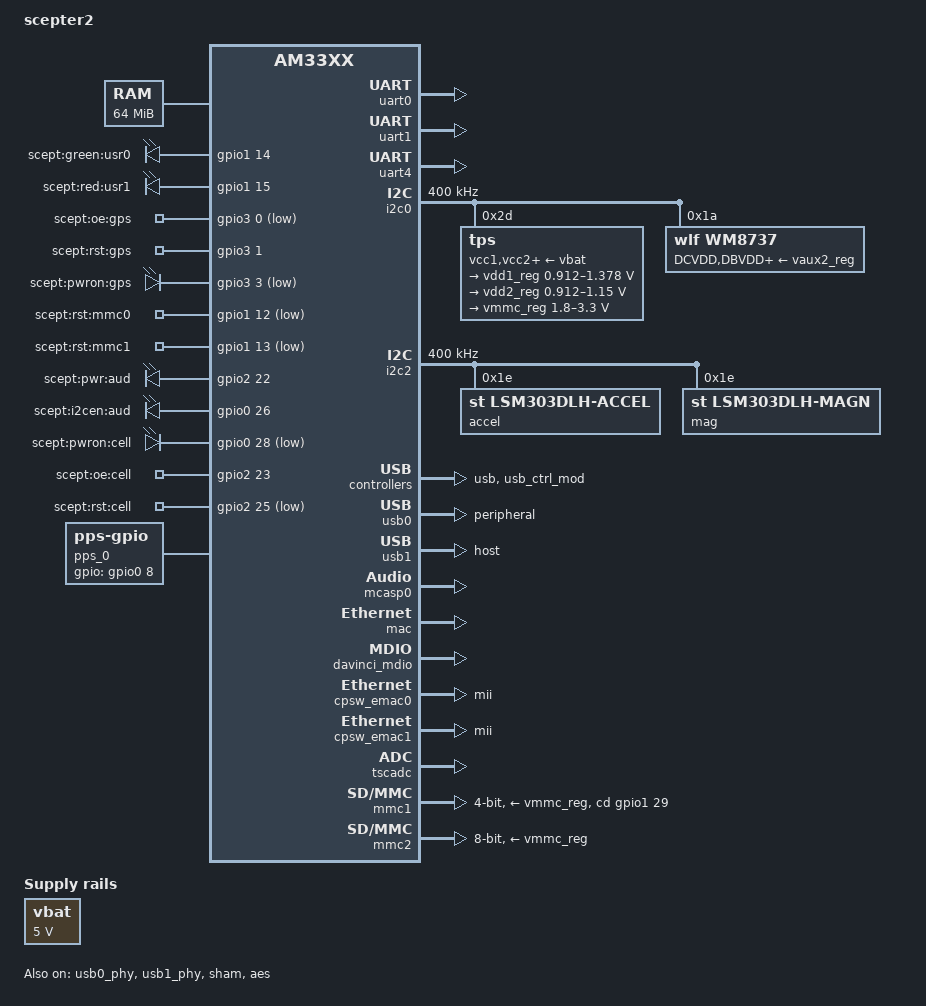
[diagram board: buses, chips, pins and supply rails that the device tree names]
/* * Copyright (C) 2015 Gener8 --> modified from TI's AM335x_EVM board 
 *
 * This program is free software; you can redistribute it and/or modify
 * it under the terms of the GNU General Public License version 2 as
 * published by the Free Software Foundation.
 */
/dts-v1/;

#include "am33xx.dtsi"
#include <dt-bindings/interrupt-controller/irq.h>

/ {
	model = "scepter2";
	compatible = "ti,am335x-evm", "ti,am33xx";

	cpus {
		cpu@0 {
			cpu0-supply = <&vdd1_reg>;
		};
	};

	memory {
		device_type = "memory";
		reg = <0x80000000 0x04000000>; /* 64 MB - SCEPT2 change */
	};

	vbat: fixedregulator@0 {
		compatible = "regulator-fixed";
		regulator-name = "vbat";
		regulator-min-microvolt = <5000000>;
		regulator-max-microvolt = <5000000>;
		regulator-boot-on;
	};


/* Scepter2 leds, gps controls include audio and mmc gpios  */
/* ------------------------------------------------------------------------ */
   	leds {
   		pinctrl-names = "default", "sleep";
		pinctrl-0 = <&user_leds_default>;
		pinctrl-1 = <&user_leds_sleep>;

		compatible = "gpio-leds";

		led@1 {
		      label = "scept:green:usr0";
		      gpios = <&gpio1 14 GPIO_ACTIVE_HIGH>;
		      default-state = "on";
		};

		led@2 {
		      label = "scept:red:usr1";
		      gpios = <&gpio1 15 GPIO_ACTIVE_HIGH>;
		      default-state = "on";
		};		
	};

	gpsctls {

   		pinctrl-names = "default", "sleep";
		pinctrl-0 = <&user_gpsctl_default>;
		pinctrl-1 = <&user_gpsctl_sleep>;

		compatible = "gpio-leds";

		gpsctl@1 {
		      label = "scept:oe:gps";
		      gpios = <&gpio3 0 GPIO_ACTIVE_LOW>;
		      default-state = "on";
		};

		gpsctl@2 {
		      label = "scept:rst:gps";
		      gpios = <&gpio3 1 GPIO_ACTIVE_HIGH>;
		      default-state = "off";
		};		

		gpsctl@3 {
		      label = "scept:pwron:gps";
		      gpios = <&gpio3 3 GPIO_ACTIVE_LOW>;
		      default-state = "on";
		};		

		/* Disable onboard eMMC0 by placing it in reset */
		gpsctl@4 {
		      label = "scept:rst:mmc0";
		      gpios = <&gpio1 12 GPIO_ACTIVE_LOW>;
		      default-state = "on";
		};		

		gpsctl@5 {
		      label = "scept:rst:mmc1";
		      gpios = <&gpio1 13 GPIO_ACTIVE_LOW>;
		      default-state = "off";
		};

		gpsctl@6 {
		      label = "scept:pwr:aud";
		      gpios = <&gpio2 22 GPIO_ACTIVE_HIGH>;
		      default-state = "on";
		};

		gpsctl@7 {
		      label = "scept:i2cen:aud";
		      gpios = <&gpio0 26 GPIO_ACTIVE_HIGH>;
		      default-state = "on";
		};

	};

	cellctls {

   		pinctrl-names = "default", "sleep";
		pinctrl-0 = <&user_cellctl_default>;
		pinctrl-1 = <&user_cellctl_sleep>;

		compatible = "gpio-leds";

/* XXX Perhaps add reset control in kernel or standalone app, currently doing it by user command line  */
#if 0
		cellctl@1 {
		      label = "scept:on:cell";
		      gpios = <&gpio0 21 GPIO_ACTIVE_LOW>;
		      default-state = "on";
		};
#endif
		cellctl@2 {
		      label = "scept:pwron:cell";
		      gpios = <&gpio0 28 GPIO_ACTIVE_LOW>;
		      default-state = "on";
		};		

		cellctl@3 {
		      label = "scept:oe:cell";
		      gpios = <&gpio2 23 GPIO_ACTIVE_HIGH>;
		      default-state = "off";
		};		

		cellctl@4 {
		      label = "scept:rst:cell";
		      gpios = <&gpio2 25 GPIO_ACTIVE_LOW>;
		      default-state = "on";
		};		


	};
	/* Scepter 2 wm8737 config, this relates to davinci-evm.c, 12.288MHz for modified Scepter2, 12Mhz for the rest 
	   to configure for slave mode, change pin mux direction below.   

	   Right now we are using a custom version of davinci-evm driver. We should switch to simple-sound-card
	   Documentation/devicetree/bindings/sound/simple-card.txt
	*/
	sound {
		compatible = "ti,wm8737-evm-audio";
		ti,model = "WM8737";
		ti,audio-codec = <&wm8737>;
		ti,mcasp-controller = <&mcasp0>;
		ti,codec-clock-rate = <12288000>;
	 	ti,audio-routing =
			"LINPUT1", "Line In",
			"RINPUT1", "Line In";
	};


	pps_0 {
		compatible = "pps-gpio";
		source-name = "ublox_max7";
		source-path = "/dev/ttyO4";
		gpios = <&gpio0 8 GPIO_ACTIVE_HIGH>;
		/* capture-clear; */
	};


/* external pps to gpio0-4 on rcalhoun's board only
        pps_1 {
                compatible = "pps-gpio";
                source-name = "ublox_lea4H";
		source-path = "";
		gpios = <&gpio0 4 GPIO_ACTIVE_HIGH>;
		interrupts = <96 1>;

	};
*/

};

/* =========================================================================================== */
/* =========================================================================================== */

&am33xx_pinmux {
	pinctrl-names = "default";

        /* wm8737 control */
	wm8737_pins_default: wm8737_pins_default {
		pinctrl-single,pins = <
			0x18c ( PIN_INPUT | MUX_MODE0 ) /* (C16) I2C0_SCL.I2C0_SCL */
			0x188 ( PIN_INPUT | MUX_MODE0 ) /* (C17) I2C0_SDA.I2C0_SDA */
		>;
	};

	/* st lsm303 accelerometer-magnetometer */
	lsm303d_i2c_pins_default: lsm303d_i2c_pins_default {
		pinctrl-single,pins = <
			0x154 ( PIN_INPUT_PULLUP | MUX_MODE2 ) /* (B17) spi0_d0.I2C2_SCL */
			0x150 ( PIN_INPUT_PULLUP | MUX_MODE2 ) /* (A17) spi0_sclk.I2C2_SDA */
		>;
	};

	lsm303d_i2c_pins_sleep: lsm303d_i2c_pins_sleep {
		pinctrl-single,pins = <
			0x154 ( PIN_INPUT_PULLUP | MUX_MODE2 ) /* (B17) spi0_d0.I2C2_SCL */
			0x150 ( PIN_INPUT_PULLUP | MUX_MODE2 ) /* (A17) spi0_sclk.I2C2_SDA */
		>;
	};


	uart0_pins: pinmux_uart0_pins {
		pinctrl-single,pins = <
			0x170 (PIN_INPUT_PULLUP | MUX_MODE0)	/* uart0_rxd.uart0_rxd */
			0x174 (PIN_OUTPUT_PULLDOWN | MUX_MODE0)	/* uart0_txd.uart0_txd */
		>;
	};

	uart1_pins_default: pinmux_uart1_pins_default {
		pinctrl-single,pins = <
			0x178 (PIN_INPUT | MUX_MODE0)			/* uart1_ctsn.uart1_ctsn */
			0x17C (PIN_OUTPUT_PULLDOWN | MUX_MODE0)	/* uart1_rtsn.uart1_rtsn */
			0x180 (PIN_INPUT_PULLUP | MUX_MODE0)	/* uart1_rxd.uart1_rxd */
			0x184 (PIN_OUTPUT_PULLDOWN | MUX_MODE0) 	/* uart1_txd.uart1_txd */
		>;
	};

	uart1_pins_sleep: pinmux_uart1_pins_sleep {
		pinctrl-single,pins = <
			0x178 (PIN_INPUT_PULLDOWN | MUX_MODE7)
			0x17C (PIN_INPUT_PULLDOWN | MUX_MODE7)
			0x180 (PIN_INPUT_PULLDOWN | MUX_MODE7)
			0x184 (PIN_INPUT_PULLDOWN | MUX_MODE7)
		>;
	};


/* kpps is not working sensibly, make both kpps inputs into gpios */

	uart_gps_pins_default: uart_gps_pins_default {
		pinctrl-single,pins = <
			0x11c ( PIN_INPUT_PULLUP | MUX_MODE3 ) /* (J18) gmii1_txd3.uart4_rxd */
			0x120 ( PIN_OUTPUT_PULLDOWN | MUX_MODE3 ) /* (K15) gmii1_txd2.uart4_txd */
			0xd0 ( PIN_INPUT | MUX_MODE7 ) /* (V2) lcd_data12.gpio0[8] */
			/* 0xe8 ( PIN_INPUT_PULLDOWN | MUX_MODE7 )  (V5) lcd_pclk.gpio2[24] */
			0xe8 ( PIN_INPUT_PULLDOWN | MUX_MODE6 ) /* (V5) lcd_pclk.pr1_pru1_pru_r31[10] */
			0x158 ( PIN_INPUT_PULLDOWN | MUX_MODE7 ) /* (B16) spi0_d1.gpio0[4] */
		>;
	};

	/* Optional sleep pin settings. Must manually enter values in the below skeleton. */
	uart_gps_pins_sleep: uart_gps_pins_sleep {
		pinctrl-single,pins = <
			0x11c ( PIN_INPUT | MUX_MODE3 ) /* (J18) gmii1_txd3.uart4_rxd */
			0x120 ( PIN_OUTPUT | MUX_MODE3 ) /* (K15) gmii1_txd2.uart4_txd */
			0xd0 ( PIN_INPUT | MUX_MODE7 ) /* (V2) lcd_data12.gpio0[8] */
			/* 0xe8 ( PIN_INPUT_PULLDOWN | MUX_MODE7 )  (V5) lcd_pclk.gpio2[24] */
			0xe8 ( PIN_INPUT_PULLDOWN | MUX_MODE6 ) /* (V5) lcd_pclk.pr1_pru1_pru_r31[10] */
			0x158 ( PIN_INPUT_PULLDOWN | MUX_MODE7 ) /* (B16) spi0_d1.gpio0[4] */
		>;
	};


/* Scepter 2 changed pins directly here to Slave 2 settings and MII2 per pinmux tool */

	cpsw_default: cpsw_default {
		pinctrl-single,pins = <
			/* Slave 2 */
		0x78 ( PIN_INPUT_PULLDOWN | MUX_MODE1 ) /* (U18) gpmc_be1n.gmii2_col */
		0x70 ( PIN_INPUT_PULLDOWN | MUX_MODE1 ) /* (T17) gpmc_wait0.gmii2_crs */
		0x74 ( PIN_INPUT_PULLDOWN | MUX_MODE1 ) /* (U17) gpmc_wpn.gmii2_rxer */
		0x40 ( PIN_OUTPUT_PULLDOWN | MUX_MODE1 ) /* (R13) gpmc_a0.gmii2_txen */
		0x44 ( PIN_INPUT_PULLDOWN | MUX_MODE1 ) /* (V14) gpmc_a1.gmii2_rxdv */
		0x58 ( PIN_INPUT_PULLDOWN | MUX_MODE1 ) /* (U15) gpmc_a6.gmii2_txclk */
		0x5c ( PIN_INPUT_PULLDOWN | MUX_MODE1 ) /* (T15) gpmc_a7.gmii2_rxclk */
		0x54 ( PIN_OUTPUT_PULLDOWN | MUX_MODE1 ) /* (V15) gpmc_a5.gmii2_txd0 */
		0x50 ( PIN_OUTPUT_PULLDOWN | MUX_MODE1 ) /* (R14) gpmc_a4.gmii2_txd1 */
		0x4c ( PIN_OUTPUT_PULLDOWN | MUX_MODE1 ) /* (T14) gpmc_a3.gmii2_txd2 */
		0x48 ( PIN_OUTPUT_PULLDOWN | MUX_MODE1 ) /* (U14) gpmc_a2.gmii2_txd3 */
		0x6c ( PIN_INPUT_PULLDOWN | MUX_MODE1 ) /* (V17) gpmc_a11.gmii2_rxd0 */
		0x68 ( PIN_INPUT_PULLDOWN | MUX_MODE1 ) /* (T16) gpmc_a10.gmii2_rxd1 */
		0x64 ( PIN_INPUT_PULLDOWN | MUX_MODE1 ) /* (U16) gpmc_a9.gmii2_rxd2 */
		0x60 ( PIN_INPUT_PULLDOWN | MUX_MODE1 ) /* (V16) gpmc_a8.gmii2_rxd3 */

		>;
	};

	cpsw_sleep: cpsw_sleep {
		pinctrl-single,pins = <
			/* Slave 2 reset value */

		0x78 ( PIN_INPUT_PULLDOWN | MUX_MODE7 ) /* (U18) gpmc_be1n.gmii2_col */
		0x70 ( PIN_INPUT_PULLDOWN | MUX_MODE7 ) /* (T17) gpmc_wait0.gmii2_crs */
		0x74 ( PIN_INPUT_PULLDOWN | MUX_MODE7 ) /* (U17) gpmc_wpn.gmii2_rxer */
		0x40 ( PIN_INPUT_PULLDOWN | MUX_MODE7 ) /* (R13) gpmc_a0.gmii2_txen */
		0x44 ( PIN_INPUT_PULLDOWN | MUX_MODE7 ) /* (V14) gpmc_a1.gmii2_rxdv */
		0x58 ( PIN_INPUT_PULLDOWN | MUX_MODE7 ) /* (U15) gpmc_a6.gmii2_txclk */
		0x5c ( PIN_INPUT_PULLDOWN | MUX_MODE7 ) /* (T15) gpmc_a7.gmii2_rxclk */
		0x54 ( PIN_INPUT_PULLDOWN | MUX_MODE7 ) /* (V15) gpmc_a5.gmii2_txd0 */
		0x50 ( PIN_INPUT_PULLDOWN | MUX_MODE7 ) /* (R14) gpmc_a4.gmii2_txd1 */
		0x4c ( PIN_INPUT_PULLDOWN | MUX_MODE7 ) /* (T14) gpmc_a3.gmii2_txd2 */
		0x48 ( PIN_INPUT_PULLDOWN | MUX_MODE7 ) /* (U14) gpmc_a2.gmii2_txd3 */
		0x6c ( PIN_INPUT_PULLDOWN | MUX_MODE7 ) /* (V17) gpmc_a11.gmii2_rxd0 */
		0x68 ( PIN_INPUT_PULLDOWN | MUX_MODE7 ) /* (T16) gpmc_a10.gmii2_rxd1 */
		0x64 ( PIN_INPUT_PULLDOWN | MUX_MODE7 ) /* (U16) gpmc_a9.gmii2_rxd2 */
		0x60 ( PIN_INPUT_PULLDOWN | MUX_MODE7 ) /* (V16) gpmc_a8.gmii2_rxd3 */

		>;
	};

	davinci_mdio_default: davinci_mdio_default {
		pinctrl-single,pins = <
			/* MDIO */
			0x148 (PIN_INPUT_PULLUP | SLEWCTRL_FAST | MUX_MODE0)	/* mdio_data.mdio_data */
			0x14c (PIN_OUTPUT_PULLUP | MUX_MODE0)			/* mdio_clk.mdio_clk */
		>;
	};

	davinci_mdio_sleep: davinci_mdio_sleep {
		pinctrl-single,pins = <
			/* MDIO reset value */
			0x148 (PIN_INPUT_PULLDOWN | MUX_MODE7)
			0x14c (PIN_INPUT_PULLDOWN | MUX_MODE7)
		>;
	};

	mmc1_pins_default: pinmux_mmc1_pins {
		pinctrl-single,pins = <
			0x0F0 (PIN_INPUT_PULLUP | MUX_MODE0)    /* mmc0_dat3.mmc0_dat3 */
			0x0F4 (PIN_INPUT_PULLUP | MUX_MODE0)    /* mmc0_dat2.mmc0_dat2 */
			0x0F8 (PIN_INPUT_PULLUP | MUX_MODE0)    /* mmc0_dat1.mmc0_dat1 */
			0x0FC (PIN_INPUT_PULLUP | MUX_MODE0)    /* mmc0_dat0.mmc0_dat0 */
			0x100 (PIN_INPUT_PULLUP | MUX_MODE0)    /* mmc0_clk.mmc0_clk */
			0x104 (PIN_INPUT_PULLUP | MUX_MODE0)    /* mmc0_cmd.mmc0_cmd */


/* Scepter 2 remove WP & CD signals as they are not used on SD card */
#if 0
			0x7C (PIN_INPUT_PULLUP | MUX_MODE7)    /* (V6) INTR BOARD DETECT gpmc_csn0.gpio1[29] */
			0x160 (PIN_INPUT | MUX_MODE7)           /* spi0_cs1.gpio0_6 */
#endif
		>;
	};

	mmc1_pins_sleep: pinmux_mmc1_pins_sleep {
		pinctrl-single,pins = <
			0x0F0 (PIN_INPUT_PULLDOWN | MUX_MODE7)
			0x0F4 (PIN_INPUT_PULLDOWN | MUX_MODE7)
			0x0F8 (PIN_INPUT_PULLDOWN | MUX_MODE7)
			0x0FC (PIN_INPUT_PULLDOWN | MUX_MODE7)
			0x100 (PIN_INPUT_PULLDOWN | MUX_MODE7)
			0x104 (PIN_INPUT_PULLDOWN | MUX_MODE7)
			0x7C (PIN_INPUT_PULLUP | MUX_MODE7)    /* (V6) gpmc_csn0.gpio1[29] */

/* Scepter 2 remove WP & CD signals as they are not used on SD card */
#if 0
			0x7C (PIN_INPUT_PULLUP | MUX_MODE7)    /* (V6) INTR BOARD DETECT gpmc_csn0.gpio1[29] */
			0x1A0 (PIN_INPUT_PULLUP | MUX_MODE7)    /* mcasp0_aclkr.gpio3_18 */
#endif
		>;
	};

	/* Scepter2 mmc2 8 bit part is mapped to HW interface mmc1  */
	mmc2_pins_default: pinmux_mmc2_pins_default {
		pinctrl-single,pins = <
			0x80 (PIN_INPUT_PULLUP | MUX_MODE2) /* gpmc_csn1.mmc1_clk */
			0x84 (PIN_INPUT_PULLUP | MUX_MODE2) /* gpmc_csn2.mmc1_cmd */
			0x00 (PIN_INPUT_PULLUP | MUX_MODE1) /* gpmc_ad0.mmc1_dat0 */
			0x04 (PIN_INPUT_PULLUP | MUX_MODE1) /* gpmc_ad1.mmc1_dat1 */
			0x08 (PIN_INPUT_PULLUP | MUX_MODE1) /* gpmc_ad2.mmc1_dat2 */
			0x0c (PIN_INPUT_PULLUP | MUX_MODE1) /* gpmc_ad3.mmc1_dat3 */
			0x10 (PIN_INPUT_PULLUP | MUX_MODE1) /* gpmc_ad4.mmc1_dat4 */
			0x14 (PIN_INPUT_PULLUP | MUX_MODE1) /* gpmc_ad5.mmc1_dat5 */
			0x18 (PIN_INPUT_PULLUP | MUX_MODE1) /* gpmc_ad6.mmc1_dat6 */
			0x1c (PIN_INPUT_PULLUP | MUX_MODE1) /* gpmc_ad7.mmc1_dat7 */
		>;
	};

	mmc2_pins_sleep: pinmux_mmc2_pins_sleep {
		pinctrl-single,pins = <
			0x80 (PIN_INPUT_PULLDOWN | MUX_MODE7) /* gpmc_csn1.mmc1_clk */
			0x84 (PIN_INPUT_PULLDOWN | MUX_MODE7) /* gpmc_csn2.mmc1_cmd */
			0x00 (PIN_INPUT_PULLDOWN | MUX_MODE7) /* gpmc_ad0.mmc1_dat0 */
			0x04 (PIN_INPUT_PULLDOWN | MUX_MODE7) /* gpmc_ad1.mmc1_dat1 */
			0x08 (PIN_INPUT_PULLDOWN | MUX_MODE7) /* gpmc_ad2.mmc1_dat2 */
			0x0c (PIN_INPUT_PULLDOWN | MUX_MODE7) /* gpmc_ad3.mmc1_dat3 */
			0x10 (PIN_INPUT_PULLDOWN | MUX_MODE7) /* gpmc_ad4.mmc1_dat4 */
			0x14 (PIN_INPUT_PULLDOWN | MUX_MODE7) /* gpmc_ad5.mmc1_dat5 */
			0x18 (PIN_INPUT_PULLDOWN | MUX_MODE7) /* gpmc_ad6.mmc1_dat6 */
			0x1c (PIN_INPUT_PULLDOWN | MUX_MODE7) /* gpmc_ad7.mmc1_dat7 */
		>;
	};

	user_leds_default: user_leds_default {
		pinctrl-single,pins = <
 			0x38 (PIN_OUTPUT_PULLUP | MUX_MODE7)	/* gpmc_ad14.gpio1_14 scepter2 LED_GRN */
			0x3c (PIN_OUTPUT_PULLUP | MUX_MODE7)	/* gpmc_ad15.gpio1_15 scepter2 LED_RED */
		>;
	};

	user_leds_sleep: user_leds_sleep {
		pinctrl-single,pins = <
 			0x38 (PIN_OUTPUT_PULLUP | MUX_MODE7)	/* gpmc_ad14.gpio1_14 scepter2 LED_GRN */
			0x3c (PIN_OUTPUT_PULLUP | MUX_MODE7)	/* gpmc_ad15.gpio1_15 scepter2 LED_RED */
		>;
	};
	
	user_gpsctl_default: user_gpsctl_default {
		pinctrl-single,pins = <
 			0x108 (PIN_OUTPUT_PULLUP | MUX_MODE7)	/* (H16) mii1_col.gpio3[0] 0x108 GPIO3_0 scepter2 GPS_OE */
			0x10c (PIN_OUTPUT_PULLUP | MUX_MODE7)	/* (H17) mii1_crs.gpio3[1] 0x10c GPIO3_1 scepter2 GPS_RST */
			0x114 (PIN_OUTPUT_PULLUP | MUX_MODE7)	/* (J16) mii1_txen.gpio3[3] 0x114 GPIO3_3 scepter2 GPS_PWRON */
			0xe0 ( PIN_OUTPUT | MUX_MODE7 ) /* (U5) lcd_vsync.gpio2[22] */

		>;
	};

	user_gpsctl_sleep: user_gpsctl_sleep {
		pinctrl-single,pins = <
 			0x108 (PIN_OUTPUT_PULLUP | MUX_MODE7)	/* (H16) mii1_col.gpio3[0] 0x108 GPIO3_0 scepter2 GPS_OE */
			0x10c (PIN_OUTPUT_PULLUP | MUX_MODE7)	/* (H17) mii1_crs.gpio3[1] 0x10c GPIO3_1 scepter2 GPS_RST */
			0x114 (PIN_OUTPUT_PULLUP | MUX_MODE7)	/* (J16) mii1_txen.gpio3[3] 0x114 GPIO3_3 scepter2 GPS_PWRON */
			0xe0 ( PIN_OUTPUT | MUX_MODE7 ) /* (U5) lcd_vsync.gpio2[22] */
		>;
	};

	user_cellctl_default: user_cellctl_default {
		pinctrl-single,pins = <
			0x124 ( PIN_OUTPUT | MUX_MODE7 ) /* (K16) gmii1_txd1.gpio0[21] */
			0x128 ( PIN_OUTPUT | MUX_MODE7 ) /* (K17) gmii1_txd0.gpio0[28] */
			0xe4 ( PIN_OUTPUT | MUX_MODE7 ) /* (R5) lcd_hsync.gpio2[23] */
			0xec ( PIN_OUTPUT | MUX_MODE7 ) /* (R6) lcd_ac_bias_en.gpio2[25] */
		>;
	};

	user_cellctl_sleep: user_cellctl_sleep {
		pinctrl-single,pins = <
			0x124 ( PIN_OUTPUT | MUX_MODE7 ) /* (K16) gmii1_txd1.gpio0[21] */
			0x128 ( PIN_OUTPUT | MUX_MODE7 ) /* (K17) gmii1_txd0.gpio0[28] */
			0xe4 ( PIN_OUTPUT | MUX_MODE7 ) /* (R5) lcd_hsync.gpio2[23] */
			0xec ( PIN_OUTPUT | MUX_MODE7 ) /* (R6) lcd_ac_bias_en.gpio2[25] */
		>;
	};



    my_usb_1_pins_default: my_usb_1_pins_default {
        pinctrl-single,pins = <
            0x234 ( PIN_OUTPUT_PULLUP | MUX_MODE0 ) /* (F15) USB1_DRVVBUS.USB1_DRVVBUS */
        >;
    };


    /* Optional sleep pin settings. Must manually enter values in the below skeleton. */
    my_usb_1_pins_sleep: my_usb_1_pins_sleep {
        pinctrl-single,pins = <
            0x234 ( PIN_OUTPUT_PULLUP | MUX_MODE0 ) /* (F15) USB1_DRVVBUS.USB1_DRVVBUS */
        >;
    };



	am335x_evm_audio_pins: am335x_evm_audio_pins {
		pinctrl-single,pins = <
			0x1a0 ( PIN_INPUT_PULLDOWN | MUX_MODE0 ) /* (B12) mcasp0_aclkr.mcasp0_aclkr */
			0x1a4 ( PIN_INPUT_PULLDOWN | MUX_MODE0 ) /* (C13) mcasp0_fsr.mcasp0_fsr */
			0x1a8 ( PIN_INPUT_PULLDOWN | MUX_MODE0 ) /* (D13) mcasp0_axr1.mcasp0_axr1 */
			/* GPIO I2C tranceiver enable */
			0x28 ( PIN_OUTPUT | MUX_MODE7 ) /* (T11) gpmc_ad10.gpio0[26] */
		>;
	};

	am335x_evm_audio_pins_sleep: am335x_evm_audio_pins_sleep {
		pinctrl-single,pins = <
			0x1a0 ( PIN_INPUT_PULLDOWN | MUX_MODE0 ) /* (B12) mcasp0_aclkr.mcasp0_aclkr */
			0x1a4 ( PIN_INPUT_PULLDOWN | MUX_MODE0 ) /* (C13) mcasp0_fsr.mcasp0_fsr */
			0x1a8 ( PIN_INPUT_PULLDOWN | MUX_MODE0 ) /* (D13) mcasp0_axr1.mcasp0_axr1 */
			/* GPIO I2C tranceiver enable */
			0x28 ( PIN_OUTPUT | MUX_MODE7 ) /* (T11) gpmc_ad10.gpio0[26] */
		>;
	};

};

/* ===================================================================================== */
/* ===================================================================================== */

&uart0 {
	pinctrl-names = "default";
	pinctrl-0 = <&uart0_pins>;
	status = "okay";
};

&uart1 {
	pinctrl-names = "default", "sleep";
	pinctrl-0 = <&uart1_pins_default>;
	pinctrl-1 = <&uart1_pins_sleep>;
	status = "okay";
};

&uart4 {
	pinctrl-names = "default", "sleep";
	pinctrl-0 = <&uart_gps_pins_default>;
	pinctrl-1 = <&uart_gps_pins_sleep>;
	status = "okay";
};

&i2c0 {
	pinctrl-names = "default";
	pinctrl-0 = <&wm8737_pins_default>;

	status = "okay";
	clock-frequency = <400000>;

	tps: tps@2d {
		reg = <0x2d>;
	};

	wm8737: wm8737@1a {
		compatible = "wlf,wm8737";
		reg = <0x1a>;
		status = "okay";
		/* Regulators */
		DCVDD-supply = <&vaux2_reg>;
		DBVDD-supply = <&vaux2_reg>;
		AVDD-supply = <&vaux2_reg>;
		MVDD-supply = <&vaux2_reg>;
	};

};

/* still not seeing i2c2 in iio */

&i2c2 {
	pinctrl-names = "default","sleep";
	pinctrl-0 = <&lsm303d_i2c_pins_default>;
	pinctrl-1 = <&lsm303d_i2c_pins_sleep>;
	status = "okay";
	clock-frequency = <400000>;

	accel: lsm303d@1e {
		compatible = "st,lsm303dlh-accel";
		st,drdy-int-pin = <1>;
		reg = <0x1e>;
		status = "okay";
	};

        mag: lsm303d@1e {
                compatible = "st,lsm303dlh-magn";
		st,drdy-int-pin = <2>;
                reg = <0x1e>;
                status = "okay";
        };
};


&accel {

};

&mag {

};

&usb {
    status = "okay";
};

&usb_ctrl_mod {
    status = "okay";
};

/* usb0 used for sw load via RDNIS */
&usb0_phy {
    status = "okay";
};

&usb0 {
    status = "okay";
    dr_mode = "peripheral";
};

/* usb1 used for modem interface */
&usb1_phy {
    status = "okay";
};

&usb1 {
    status = "okay";
    dr_mode = "host";
};

&cppi41dma  {
    status = "okay";
}; 

/* ------------------------------------------------------------------------ */

#include "tps65910.dtsi"

&mcasp0 {
	pinctrl-names = "default", "sleep";
	pinctrl-0 = <&am335x_evm_audio_pins>;
	pinctrl-1 = <&am335x_evm_audio_pins_sleep>;

	status = "okay";

	op-mode = <0>;          /* MCASP_IIS_MODE */
	tdm-slots = <2>;
	/* 4 serializers */
	serial-dir = <  /* 0: INACTIVE, 1: TX, 2: RX - 0 2 0 0 */
		0 2 0 0
	>;
	tx-num-evt = <32>;
	rx-num-evt = <32>;
};

&tps {

/* PMIC Inputs 5V_DIG net on schematic */
	vcc1-supply = <&vbat>;
	vcc2-supply = <&vbat>;
	vcc3-supply = <&vbat>;
	vcc4-supply = <&vbat>;
	vcc5-supply = <&vbat>;
	vcc6-supply = <&vbat>;
	vcc7-supply = <&vbat>;
	vccio-supply = <&vbat>;

	regulators {
		vrtc_reg: regulator@0 {
			regulator-always-on;
		};

		vio_reg: regulator@1 {
			regulator-always-on;
		};

		vdd1_reg: regulator@2 {
			/* VDD_MPU voltage limits 0.95V - 1.325V with +/-4% tolerance */
			regulator-name = "vdd_mpu";
			regulator-min-microvolt = <912500>;
			regulator-max-microvolt = <1378000>;
			regulator-boot-on;
			regulator-always-on;
		};

		vdd2_reg: regulator@3 {
			/* VDD_CORE voltage limits 0.95V - 1.1V with +/-4% tolerance */
			regulator-name = "vdd_core";
			regulator-min-microvolt = <912500>;
			regulator-max-microvolt = <1150000>;
			regulator-boot-on;
			regulator-always-on;
		};

		vdd3_reg: regulator@4 {
			regulator-always-on;
		};

		vdig1_reg: regulator@5 {
			regulator-always-on;
		};

		vdig2_reg: regulator@6 {
			regulator-always-on;
		};

		/* Here are the std PMIC reg outputs */
		vpll_reg: regulator@7 {
			regulator-always-on;
		};

		vdac_reg: regulator@8 {
			regulator-always-on;
		};

		vaux1_reg: regulator@9 {
			regulator-always-on;
		};

		vaux2_reg: regulator@10 {
			regulator-always-on;
		};

		vaux33_reg: regulator@11 {
			regulator-always-on;
		};

		vmmc_reg: regulator@12 {
		/*	Scepter 2 has fixed 3.3v */ 
			regulator-min-microvolt = <1800000>;
			regulator-max-microvolt = <3300000>; 
			regulator-always-on;
		};
	};
};

&mac {
    status = "okay";
	pinctrl-names = "default", "sleep";
	pinctrl-0 = <&cpsw_default>;
	pinctrl-1 = <&cpsw_sleep>;
};

&davinci_mdio {
    status = "okay";
	pinctrl-names = "default", "sleep";
	pinctrl-0 = <&davinci_mdio_default>;
	pinctrl-1 = <&davinci_mdio_sleep>;
};

/* Scepter 2 use only one emac, note that forcing emac1 to mdio addr 0 will
 properly direct MII2 to the correct and only available phy */

&cpsw_emac0 {
    status = "okay";
	phy_id = <&davinci_mdio>, <1>;
	phy-mode = "mii";
};

&cpsw_emac1 {
    status = "okay";
	phy_id = <&davinci_mdio>, <0>;
	phy-mode = "mii";
};


&tscadc {
	status = "okay";

	adc {
		ti,adc-channels = <0 1 2 3 4 5 6 7>;
	};
};

&mmc1 {	status = "okay";
	vmmc-supply = <&vmmc_reg>;
	bus-width = <4>;
	pinctrl-names = "default", "sleep";
	pinctrl-0 = <&mmc1_pins_default>;
	pinctrl-1 = <&mmc1_pins_sleep>;
	ti,non-removable;

/* Scepter2 There are two HW options for mmc1 ie: SDCard or onboard eMMC0 
   SDCard has it's CD pulled up if the Interface board is attached net: INTR_CARD_DET
   it is pulled down if not. There is no WP 
*/
	cd-gpios = <&gpio1 29 GPIO_ACTIVE_HIGH>;
#if 0
	wp-gpios = <&gpio3 18 GPIO_ACTIVE_HIGH>;
#endif
};

&mmc2 {
	vmmc-supply = <&vmmc_reg>;
	pinctrl-names = "default", "sleep";
	pinctrl-0 = <&mmc2_pins_default>;
	pinctrl-1 = <&mmc2_pins_sleep>;
	bus-width = <8>;
	status = "okay";
	ti,non-removable;

/* these are on the crossbar and are outlined in the
	   xbar-event-map element 
	   KEEP this as reference
	   --------------------------------------------------
	dmas = <&edma 12
		&edma 13>;
	dma-names = "tx", "rx";
	status = "okay";
	vmmc-supply = <&vmmc_reg>;
	bus-width = <4>;
	pinctrl-names = "default", "sleep";
	pinctrl-0 = <&mmc3_pins_default &wlan_pins_default>;
	pinctrl-1 = <&mmc3_pins_sleep &wlan_pins_sleep>;
	ti,non-removable;
	ti,needs-special-hs-handling;
	cap-power-off-card;
	keep-power-in-suspend;

	#address-cells = <1>;
	#size-cells = <0>;
	wlcore: wlcore@0 {
		compatible = "ti,wlcore";
		reg = <2>;
		interrupt-parent = <&gpio3>;
		interrupts = <17 IRQ_TYPE_NONE>; 
----------------------------------------------------------------*/

};

&sham {
	status = "okay";
};

&aes {
	status = "okay";
};

&wkup_m3 {
	ti,scale-data-fw = "am335x-evm-scale-data.bin";
};


